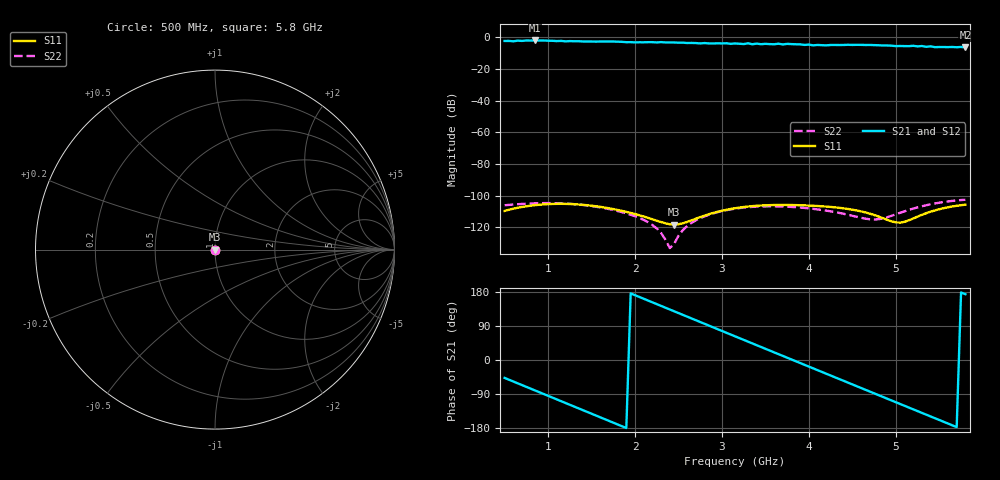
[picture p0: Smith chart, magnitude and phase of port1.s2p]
# GHZ S RI R 50
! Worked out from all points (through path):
!   107 points, 500 MHz to 5.8 GHz, reference 50 ohm
!   highest |S21| = -1.88 dB at 850 MHz (marker M1); lowest = -6.3 dB at 5.8 GHz (marker M2)
!   group delay of S21, straight-line fit = 262 ps
!   lowest |S11| = -118.2 dB at 2.45 GHz (marker M3), VSWR 1.00, Z = 50 + j0.000111 ohm
!   |S11| at or under -10 dB: start of sweep to end of sweep
!   |S22| runs from -133.1 to -102.5 dB; largest |S21 - S12| = 1.2e-14
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0.5  1.13e-06 3.11e-06  0.5268 -0.5703  0.5268 -0.5703  3.43e-06 3.63e-06
0.65  2.5e-06 3.33e-06  0.3796 -0.6976  0.3796 -0.6976  3.99e-06 3.62e-06
0.85  4.32e-06 2.58e-06  0.1351 -0.7937  0.1351 -0.7937  4.79e-06 3.19e-06
1.15  5.54e-06 -2.32e-07  -0.2497 -0.7388  -0.2497 -0.7388  5.49e-06 1.66e-06
1.4  4.39e-06 -2.71e-06  -0.5029 -0.5529  -0.5029 -0.5529  5.09e-06 1.22e-07
1.75  7.26e-07 -3.71e-06  -0.7217 -0.1887  -0.7217 -0.1887  3.34e-06 -1.18e-06
2.05  -1.56e-06 -1.84e-06  -0.6857 0.1669  -0.6857 0.1669  1.59e-06 -1.19e-06
2.3  -1.44e-06 2.83e-07  -0.568 0.4325  -0.568 0.4325  3.16e-07 -5.8e-07
2.45  -5.24e-07 1.11e-06  -0.4329 0.5432  -0.4329 0.5432  -3e-07 3.15e-08
2.8  2.31e-06 4.56e-07  -0.0642 0.6636  -0.0642 0.6636  -9.1e-07 2.04e-06
3.15  2.85e-06 -2.85e-06  0.2986 0.5746  0.2986 0.5746  1.39e-07 3.89e-06
3.3  1.89e-06 -4.14e-06  0.4346 0.4897  0.4346 0.4897  9.49e-07 4.23e-06
3.65  -1.94e-06 -4.72e-06  0.6137 0.1699  0.6137 0.1699  2.64e-06 3.78e-06
3.9  -4.2e-06 -2.72e-06  0.5999 -0.0847  0.5999 -0.0847  3.11e-06 2.86e-06
4.05  -4.72e-06 -9.6e-07  0.5207 -0.2119  0.5207 -0.2119  3.07e-06 2.3e-06
4.25  -4.22e-06 1.31e-06  0.4376 -0.3797  0.4376 -0.3797  2.72e-06 1.7e-06
4.55  -1.64e-06 3e-06  0.2088 -0.5479  0.2088 -0.5479  1.72e-06 1.3e-06
4.7  -1.87e-07 2.71e-06  0.0684 -0.5768  0.0684 -0.5768  1.1e-06 1.43e-06
4.95  1.31e-06 8.21e-07  -0.1587 -0.5281  -0.1587 -0.5281  1.75e-07 2.31e-06
5.2  9.19e-07 -1.67e-06  -0.3528 -0.4175  -0.3528 -0.4175  1.4e-09 3.92e-06
5.4  -6.67e-07 -3.05e-06  -0.4493 -0.2703  -0.4493 -0.2703  7.99e-07 5.3e-06
5.8  -4.65e-06 -2.35e-06  -0.4804 0.0544  -0.4804 0.0544  4.49e-06 5.97e-06
